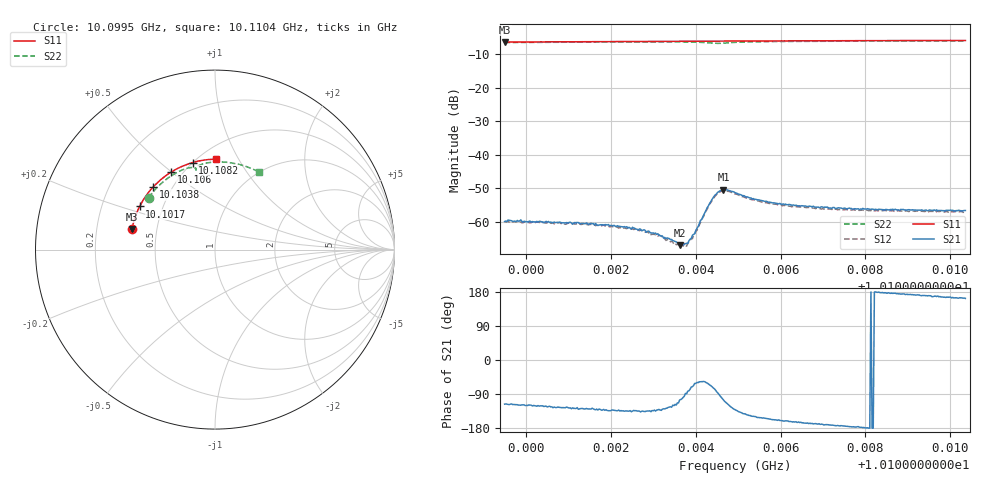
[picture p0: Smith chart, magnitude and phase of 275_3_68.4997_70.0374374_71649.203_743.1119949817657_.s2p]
#  HZ  S  RI  R  50.00
! Rohde & Schwarz Vector Network Analyzer
! Rohde-Schwarz,ZNB20-2Port,1311601062101988,3.16
! Created: UTC 3/20/2024, 5:00:56 PM
! freq[Hz]  re:S11  im:S11  re:S21  im:S21  re:S12  im:S12  re:S22  im:S22
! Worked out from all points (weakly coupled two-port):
!   401 points, 10.0995 GHz to 10.1104 GHz, reference 50 ohm
!   highest |S21| = -50.51 dB at 10.1047 GHz (marker M1); lowest = -67.0 dB at 10.1036 GHz (marker M2)
!   lowest |S11| = -6.4 dB at 10.0995 GHz (marker M3), VSWR 2.82, Z = 18 + j5.37 ohm
!   |S11| at or under -10 dB: nowhere
!   |S22| runs from -6.8 to -6.1 dB; largest |S21 - S12| = 0.00031
!   S11 on the Smith chart (normalised r, x): 10.0995 GHz: 0.36, +0.11; 10.1017 GHz: 0.37, +0.23; 10.1038 GHz: 0.39, +0.36; 10.106 GHz: 0.43, +0.50; 10.1082 GHz: 0.50, +0.65; 10.1104 GHz: 0.60, +0.81
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1.00995e10  -0.4624 0.1156  -0.000447 -0.000897  -0.000371 -0.000928  -0.3696 0.2896
1.009985e10  -0.4578 0.1368  -0.000493 -0.000891  -0.000402 -0.000908  -0.3559 0.3078
1.010131e10  -0.4291 0.2213  -0.000577 -0.000736  -0.000524 -0.000741  -0.2903 0.3762
1.010167e10  -0.4198 0.2405  -0.000562 -0.000683  -0.000497 -0.000729  -0.2725 0.3904
1.010256e10  -0.3925 0.2878  -0.000549 -0.000573  -0.000502 -0.000589  -0.2237 0.4231
1.010313e10  -0.3724 0.316  -0.00041 -0.000481  -0.000361 -0.000514  -0.1897 0.4404
1.010351e10  -0.3579 0.334  -0.00023 -0.000448  -0.000191 -0.000433  -0.1653 0.4502
1.010362e10  -0.3537 0.3389  -0.000117 -0.00043  -8.46e-05 -0.000438  -0.158 0.4524
1.010376e10  -0.3482 0.3453  1.63e-05 -0.000468  1.41e-05 -0.000438  -0.1483 0.4548
1.010384e10  -0.3449 0.3488  7.79e-05 -0.000512  0.000121 -0.000489  -0.1424 0.456
1.010398e10  -0.3392 0.3549  0.000311 -0.000581  0.000326 -0.000572  -0.1321 0.4571
1.010428e10  -0.3264 0.3677  0.000789 -0.00142  0.000878 -0.00128  -0.1102 0.4529
1.010441e10  -0.3204 0.3733  0.00065 -0.00217  0.000819 -0.002  -0.1047 0.4469
1.010452e10  -0.3156 0.3776  0.000157 -0.00272  0.000393 -0.00259  -0.1051 0.4435
1.010466e10  -0.3096 0.3832  -0.000791 -0.00288  -0.0005 -0.00283  -0.1075 0.446
1.010493e10  -0.2973 0.3939  -0.00177 -0.00204  -0.00152 -0.00209  -0.1002 0.4612
1.010539e10  -0.275 0.4112  -0.00184 -0.00111  -0.0017 -0.00121  -0.07 0.4768
1.010601e10  -0.2436 0.4323  -0.0017 -0.000628  -0.00162 -0.000749  -0.0279 0.4855
1.010675e10  -0.2048 0.4536  -0.00162 -0.000361  -0.00152 -0.000476  0.0203 0.4885
1.010819e10  -0.1239 0.4852  -0.00152 -7.64e-06  -0.00145 -0.000132  0.1124 0.4796
1.010857e10  -0.1015 0.4909  -0.00149 9.1e-05  -0.00143 -5.26e-05  0.1361 0.4742
1.011036e10  0.00604 0.5039  -0.00139 0.000439  -0.00137 0.000238  0.2426 0.4333
